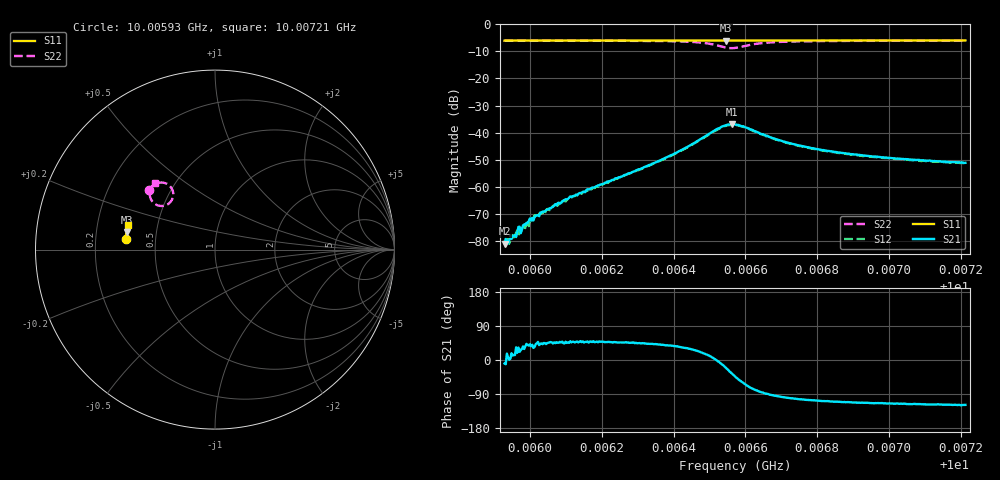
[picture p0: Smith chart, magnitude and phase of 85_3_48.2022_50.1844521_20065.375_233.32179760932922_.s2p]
#  HZ  S  RI  R  50.00
! Rohde & Schwarz Vector Network Analyzer
! Rohde-Schwarz,ZNB20-2Port,1311601062101988,3.16
! Created: UTC 3/20/2024, 11:39:51 AM
! freq[Hz]  re:S11  im:S11  re:S21  im:S21  re:S12  im:S12  re:S22  im:S22
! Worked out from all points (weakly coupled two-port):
!   401 points, 10.00593 GHz to 10.00721 GHz, reference 50 ohm
!   highest |S21| = -36.93 dB at 10.00656 GHz (marker M1); lowest = -81.0 dB at 10.00593 GHz (marker M2)
!   lowest |S11| = -6.0 dB at 10.00655 GHz (marker M3), VSWR 3.01, Z = 16.8 + j4.36 ohm
!   |S11| at or under -10 dB: nowhere
!   |S22| runs from -8.8 to -6.0 dB; largest |S21 - S12| = 0.00098
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1.0005929e10  -0.4981 0.0578  8.82e-05 -1.42e-05  0.000102 1.29e-06  -0.3702 0.3335
1.0005942e10  -0.498 0.0586  0.000103 1.29e-06  7.99e-05 3.88e-05  -0.3694 0.3343
1.0005954e10  -0.4979 0.0596  0.000119 2.87e-05  0.000104 3.73e-05  -0.3688 0.3351
1.0005961e10  -0.4979 0.06  9.82e-05 6.49e-05  0.00013 5.62e-05  -0.3684 0.3356
1.0005967e10  -0.4978 0.0603  0.000153 9.78e-05  0.000104 6.74e-05  -0.3681 0.336
1.0005993e10  -0.4977 0.0621  0.000164 0.000137  0.000172 0.000117  -0.3666 0.3378
1.0006019e10  -0.4977 0.0637  0.000213 0.000207  0.000212 0.000218  -0.365 0.3396
1.0006073e10  -0.4971 0.0673  0.00031 0.000333  0.000299 0.00035  -0.3612 0.3433
1.0006144e10  -0.4967 0.0718  0.000531 0.000573  0.000452 0.00059  -0.3559 0.3487
1.0006359e10  -0.4948 0.0859  0.00228 0.00197  0.00213 0.00204  -0.3269 0.3682
1.000642e10  -0.494 0.09  0.00391 0.00261  0.0037 0.00274  -0.3076 0.3735
1.0006484e10  -0.4928 0.0941  0.00787 0.00252  0.00755 0.00281  -0.2674 0.3662
1.0006545e10  -0.4916 0.0975  0.0128 -0.00471  0.0127 -0.00397  -0.2352 0.2895
1.0006562e10  -0.4916 0.0981  0.0117 -0.00814  0.0119 -0.00726  -0.2522 0.2615
1.0006571e10  -0.4916 0.0984  0.0103 -0.00965  0.0106 -0.00892  -0.268 0.2501
1.0006597e10  -0.4917 0.0998  0.00597 -0.0113  0.0064 -0.0108  -0.3128 0.2447
1.0006642e10  -0.4917 0.1028  0.000966 -0.00942  0.00138 -0.00945  -0.3535 0.2742
1.0006709e10  -0.4913 0.1072  -0.00106 -0.00671  -0.00067 -0.00664  -0.363 0.3096
1.0006786e10  -0.4904 0.1124  -0.00144 -0.00495  -0.00118 -0.00492  -0.3597 0.3307
1.000687e10  -0.4893 0.1178  -0.00149 -0.00394  -0.00131 -0.00392  -0.3539 0.3442
1.0007002e10  -0.4876 0.126  -0.00142 -0.00311  -0.00124 -0.00309  -0.3452 0.358
1.0007214e10  -0.4844 0.1395  -0.00132 -0.00243  -0.00119 -0.00245  -0.3328 0.3733
